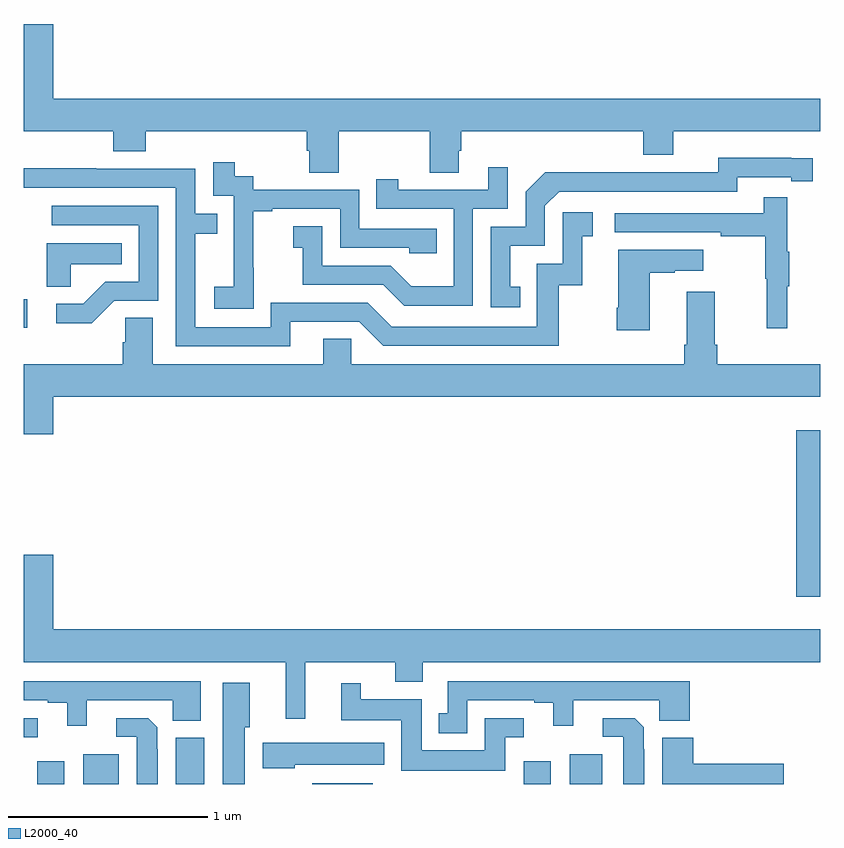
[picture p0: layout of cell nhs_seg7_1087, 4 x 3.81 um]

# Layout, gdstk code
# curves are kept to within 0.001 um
import gdstk
lib = gdstk.Library(unit=1e-6, precision=1e-09)
def R(c, l, rs):  # rectangles x0, y0, x1, y1
    for r in rs: c.add(gdstk.rectangle(r[:2], r[2:], *l))
def P(c, l, *ps):  # polygons
    for p in ps: c.add(gdstk.Polygon(p, *l))
L2000_40 = (2000, 40)

nhs_seg7_1087 = lib.new_cell('nhs_seg7_1087')
R(nhs_seg7_1087, L2000_40, [(189.068,1004,189.205,1004.113), (189.299,1004,189.478,1004.149), (189.764,1004,189.907,1004.233), (190.448,1004,190.753,1004.005), (191.51,1004,191.647,1004.113), (191.741,1004,191.905,1004.149), (189,1004.235,189.07,1004.331), (192.878,1004.94,193,1005.775), (189,1006.29,189.019,1006.434)])
P(nhs_seg7_1087, L2000_40, [(190.581,1007.276),(191.038,1007.276),(191.038,1007.068),(191.185,1007.068),(191.185,1007.178),(191.198,1007.178),(191.198,1007.276),(192.11,1007.276),(192.11,1007.159),(192.262,1007.159),(192.262,1007.276),(193,1007.276),(193,1007.44),(189.148,1007.44),(189.148,1007.815),(189,1007.815),(189,1007.276),(189.449,1007.276),(189.449,1007.177),(189.614,1007.177),(189.614,1007.276),(190.421,1007.276),(190.421,1007.178),(190.433,1007.178),(190.433,1007.068),(190.581,1007.068)],
  [(191.492,1006.497),(191.443,1006.497),(191.443,1006.701),(191.616,1006.701),(191.616,1006.902),(191.688,1006.974),(192.582,1006.974),(192.582,1007.046),(192.854,1007.046),(192.854,1007.026),(192.962,1007.026),(192.962,1007.142),(192.486,1007.143),(192.486,1007.07),(192.026,1007.07),(192.026,1007.072),(191.618,1007.072),(191.52,1006.974),(191.52,1006.797),(191.346,1006.797),(191.346,1006.392),(191.492,1006.392)],
  [(190.155,1006.591),(190.154,1006.591),(190.154,1006.875),(190.249,1006.875),(190.249,1006.887),(190.59,1006.887),(190.59,1006.692),(190.935,1006.692),(190.935,1006.665),(191.075,1006.665),(191.075,1006.788),(190.686,1006.788),(190.686,1006.983),(190.152,1006.983),(190.152,1007.052),(190.06,1007.052),(190.06,1007.122),(189.951,1007.122),(189.951,1006.953),(190.056,1006.953),(190.056,1006.724),(190.055,1006.724),(190.055,1006.495),(189.957,1006.495),(189.957,1006.385),(190.155,1006.385)],
  [(191.256,1006.887),(191.43,1006.887),(191.43,1007.095),(191.333,1007.095),(191.333,1006.983),(190.882,1006.983),(190.882,1007.035),(190.771,1007.035),(190.771,1006.887),(191.16,1006.887),(191.16,1006.498),(190.946,1006.498),(190.842,1006.602),(190.5,1006.602),(190.5,1006.801),(190.353,1006.801),(190.353,1006.691),(190.402,1006.691),(190.402,1006.506),(190.805,1006.506),(190.91,1006.401),(191.256,1006.401)],
  [(190.339,1006.32),(190.686,1006.32),(190.806,1006.2),(191.686,1006.2),(191.686,1006.503),(191.804,1006.503),(191.804,1006.749),(191.857,1006.749),(191.857,1006.87),(191.706,1006.87),(191.706,1006.611),(191.577,1006.611),(191.577,1006.296),(190.848,1006.296),(190.728,1006.416),(190.242,1006.416),(190.242,1006.293),(189.861,1006.293),(189.861,1006.762),(189.971,1006.762),(189.971,1006.863),(189.861,1006.863),(189.861,1007.088),(189.365,1007.088),(189.365,1007.09),(189,1007.09),(189,1006.992),(189.765,1006.992),(189.765,1006.197),(190.339,1006.197)],
  [(192.833,1006.499),(192.844,1006.499),(192.844,1006.673),(192.833,1006.673),(192.833,1006.945),(192.715,1006.945),(192.715,1006.866),(191.967,1006.866),(191.967,1006.77),(192.499,1006.77),(192.499,1006.75),(192.723,1006.75),(192.723,1006.536),(192.73,1006.536),(192.73,1006.287),(192.833,1006.287)],
  [(189.456,1006.425),(189.675,1006.425),(189.675,1006.902),(189.141,1006.902),(189.141,1006.806),(189.579,1006.806),(189.579,1006.521),(189.41,1006.521),(189.299,1006.41),(189.165,1006.41),(189.165,1006.313),(189.343,1006.313)],
  [(189.237,1006.61),(189.494,1006.61),(189.494,1006.714),(189.116,1006.714),(189.116,1006.495),(189.237,1006.495)],
  [(192.142,1006.567),(192.269,1006.567),(192.269,1006.577),(192.412,1006.577),(192.412,1006.681),(191.984,1006.681),(191.984,1006.39),(191.977,1006.39),(191.977,1006.278),(192.142,1006.278)],
  [(189.148,1005.944),(193,1005.944),(193,1006.108),(192.482,1006.108),(192.482,1006.204),(192.469,1006.204),(192.469,1006.471),(192.329,1006.471),(192.329,1006.204),(192.317,1006.204),(192.317,1006.108),(190.644,1006.108),(190.644,1006.235),(190.505,1006.235),(190.505,1006.108),(189.649,1006.108),(189.649,1006.34),(189.51,1006.34),(189.51,1006.217),(189.497,1006.217),(189.497,1006.108),(189,1006.108),(189,1005.756),(189.148,1005.756)],
  [(190.415,1004.612),(190.865,1004.612),(190.865,1004.513),(191.005,1004.513),(191.005,1004.612),(193,1004.612),(193,1004.776),(189.148,1004.776),(189.148,1005.151),(189,1005.151),(189,1004.612),(190.316,1004.612),(190.316,1004.328),(190.415,1004.328)],
  [(189.316,1004.421),(189.75,1004.421),(189.75,1004.318),(189.889,1004.318),(189.889,1004.517),(189,1004.517),(189,1004.421),(189.122,1004.421),(189.122,1004.409),(189.218,1004.409),(189.218,1004.292),(189.316,1004.292)],
  [(191.226,1004.421),(191.564,1004.421),(191.564,1004.409),(191.66,1004.409),(191.66,1004.292),(191.758,1004.292),(191.758,1004.421),(192.192,1004.421),(192.192,1004.318),(192.344,1004.318),(192.344,1004.517),(191.13,1004.517),(191.13,1004.355),(191.084,1004.355),(191.084,1004.255),(191.226,1004.255)],
  [(190.111,1004.286),(190.135,1004.286),(190.135,1004.509),(190.001,1004.509),(190.001,1004),(190.111,1004)],
  [(191.419,1004.235),(191.512,1004.235),(191.512,1004.331),(191.315,1004.331),(191.315,1004.17),(190.999,1004.17),(190.999,1004.425),(190.693,1004.425),(190.693,1004.506),(190.595,1004.506),(190.595,1004.321),(190.895,1004.321),(190.895,1004.066),(191.419,1004.066)],
  [(192.115,1004.174),(192.114,1004.174),(192.114,1004.285),(192.068,1004.331),(191.907,1004.331),(191.907,1004.238),(192.011,1004.238),(192.011,1004),(192.115,1004)],
  [(189.673,1004.174),(189.672,1004.174),(189.672,1004.285),(189.626,1004.331),(189.465,1004.331),(189.465,1004.238),(189.569,1004.238),(189.569,1004),(189.673,1004)],
  [(192.817,1004.102),(192.362,1004.102),(192.362,1004.233),(192.206,1004.233),(192.206,1004),(192.817,1004)],
  [(190.362,1004.096),(190.81,1004.096),(190.81,1004.206),(190.2,1004.206),(190.2,1004.078),(190.362,1004.078)])

lib.write_gds('nhs_seg7_1087.gds')
